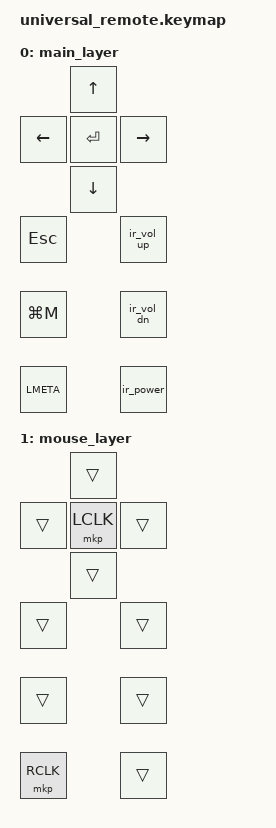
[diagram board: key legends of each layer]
#include <behaviors.dtsi>
#include <dt-bindings/zmk/keys.h>
#include <dt-bindings/zmk/pointing.h>
#include <dt-bindings/zmk/outputs.h>
#include <dt-bindings/zmk/bt.h>

#include "universal_remote_layers.h"

// placeholders
#define IR_TV_CUSTOMER 0x02fd
#define IR_TV_POWER 0x48b7
#define IR_TV_VOL_UP 0x58a7
#define IR_TV_VOL_DN 0x7887

#define IR_KEY(key, label, customer, data)                                     \
    ZMK_MACRO(key,                                                             \
        display-name = label;                                                  \
        wait-ms = <0>;                                                         \
        tap-ms = <0>;                                                          \
        bindings = <&ir_tx customer data>;                                     \
    )

/ {
    macros {
        IR_KEY(ir_power, "IR Power", IR_TV_CUSTOMER, IR_TV_POWER)
        IR_KEY(ir_vol_up, "IR Vol Up", IR_TV_CUSTOMER, IR_TV_VOL_UP)
        IR_KEY(ir_vol_dn, "IR Vol Down", IR_TV_CUSTOMER, IR_TV_VOL_DN)
    };

    keymap {
        compatible = "zmk,keymap";

        main_layer {
            bindings = <
                                &kp UP
                &kp LEFT        &kp ENTER       &kp RIGHT
                                &kp DOWN
                &kp ESCAPE                      &ir_vol_up
                &kp LG(M)                       &ir_vol_dn
                &kp LMETA                       &ir_power
            >;
        };

        // On while the Touchpad screen is shown
        mouse_layer {
            bindings = <
                                &trans
                &trans          &mkp LCLK       &trans
                                &trans
                &trans                          &trans
                &trans                          &trans
                &mkp RCLK                       &trans
            >;
        };
    };
};
